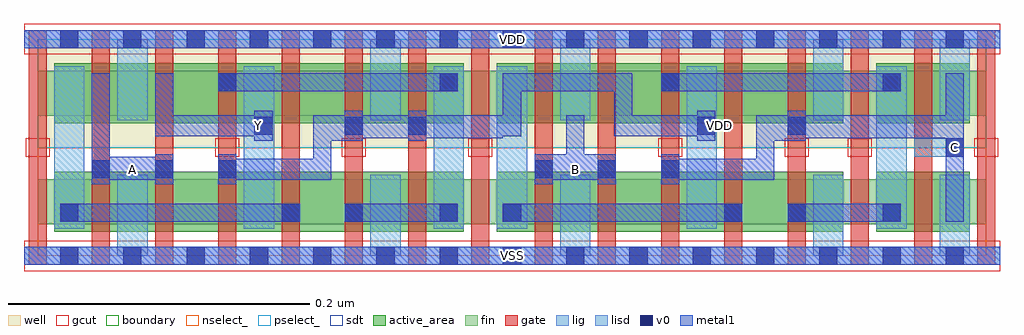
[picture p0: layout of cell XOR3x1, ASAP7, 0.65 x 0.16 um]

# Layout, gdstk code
import gdstk
lib = gdstk.Library(unit=1e-6, precision=2.5e-10)
def R(c, l, rs):  # rectangles x0, y0, x1, y1
    for r in rs: c.add(gdstk.rectangle(r[:2], r[2:], *l))
def A(c, l, x, y, w, h, nx, ny, dx, dy):  # array of equal rectangles
    R(c, l, [(x+i*dx, y+j*dy, x+i*dx+w, y+j*dy+h) for i in range(nx) for j in range(ny)])
def P(c, l, *ps):  # polygons
    for p in ps: c.add(gdstk.Polygon(p, *l))
well = (1, 0)
fin = (2, 0)
gate = (7, 0)
gcut = (10, 0)
active_area = (11, 0)
nselect_ = (12, 0)
pselect_ = (13, 0)
lig = (16, 0)
lisd = (17, 0)
v0 = (18, 0)
metal1 = (19, 0)
sdt = (88, 0)
boundary = (100, 0)

xor3x1 = lib.new_cell('XOR3x1')
R(xor3x1, well, [(0,0.072,0.63,0.144)])
R(xor3x1, fin, [(0,0.021,0.63,0.051), (0,0.093,0.63,0.123)])
A(xor3x1, gate, -0.006, -0.006, 0.012, 0.156, 16, 1, 0.042, 0)
A(xor3x1, gcut, 0.118, 0.066, 0.016, 0.012, 3, 1, 0.084, 0)
R(xor3x1, gcut, [(-0.009,-0.01,0.639,0.01), (-0.008,0.066,0.008,0.078), (0.412,0.066,0.428,0.078), (0.496,0.066,0.512,0.078), (0.538,0.066,0.554,0.078), (0.622,0.066,0.638,0.078), (-0.009,0.134,0.639,0.154)])
R(xor3x1, active_area, [(0.011,0.016,0.283,0.056), (0.305,0.016,0.535,0.056), (0.557,0.016,0.619,0.056), (0.011,0.088,0.283,0.128), (0.305,0.088,0.535,0.128), (0.557,0.088,0.619,0.128)])
R(xor3x1, nselect_, [(0,0,0.63,0.072)])
R(xor3x1, pselect_, [(0,0.072,0.63,0.144)])
A(xor3x1, lig, 0.036, 0.0515, 0.012, 0.012, 3, 1, 0.042, 0)
A(xor3x1, lig, 0.33, 0.0515, 0.012, 0.012, 3, 1, 0.042, 0)
R(xor3x1, lig, [(-0.009,-0.006,0.639,0.006), (0.162,0.0227,0.174,0.0348), (0.204,0.0227,0.216,0.0348), (0.456,0.0227,0.468,0.0348), (0.498,0.0227,0.51,0.0348), (0.582,0.066,0.615,0.078), (0.204,0.0805,0.216,0.0925), (0.246,0.0805,0.258,0.0925), (0.498,0.0805,0.51,0.0925), (0.12,0.1092,0.132,0.1212), (0.414,0.1092,0.426,0.1212), (-0.009,0.138,0.639,0.15)])
A(xor3x1, lisd, 0.011, 0.018, 0.02, 0.108, 3, 1, 0.126, 0)
A(xor3x1, lisd, 0.305, 0.018, 0.02, 0.108, 3, 1, 0.126, 0)
R(xor3x1, lisd, [(0.053,0,0.073,0.054), (0.221,0,0.241,0.054), (0.347,0,0.367,0.054), (0.515,0,0.535,0.054), (0.599,0,0.619,0.054), (0.053,0.09,0.073,0.144), (0.221,0.09,0.241,0.144), (0.347,0.09,0.367,0.144), (0.515,0.09,0.535,0.144), (0.599,0.09,0.619,0.144)])
A(xor3x1, v0, 0.015, -0.006, 0.012, 0.012, 15, 2, 0.042, 0.144)
A(xor3x1, v0, 0.036, 0.0515, 0.012, 0.012, 3, 1, 0.042, 0)
A(xor3x1, v0, 0.33, 0.0515, 0.012, 0.012, 3, 1, 0.042, 0)
A(xor3x1, v0, 0.12, 0.1092, 0.012, 0.012, 4, 1, 0.147, 0)
R(xor3x1, v0, [(0.015,0.0227,0.027,0.0348), (0.162,0.0227,0.174,0.0348), (0.204,0.0227,0.216,0.0348), (0.267,0.0227,0.279,0.0348), (0.309,0.0227,0.321,0.0348), (0.456,0.0227,0.468,0.0348), (0.498,0.0227,0.51,0.0348), (0.561,0.0227,0.573,0.0348), (0.603,0.066,0.615,0.078), (0.144,0.0805,0.156,0.0925), (0.204,0.0805,0.216,0.0925), (0.246,0.0805,0.258,0.0925), (0.438,0.0805,0.45,0.0925), (0.498,0.0805,0.51,0.0925)])
R(xor3x1, metal1, [(-0.009,-0.006,0.639,0.006), (0.015,0.0227,0.174,0.0348), (0.204,0.0227,0.279,0.0348), (0.309,0.0227,0.468,0.0348), (0.498,0.0227,0.573,0.0348), (0.12,0.1092,0.279,0.1212), (0.414,0.1092,0.573,0.1212), (-0.009,0.138,0.639,0.15)])
P(xor3x1, metal1, [(0.156,0.0965),(0.144,0.0965),(0.144,0.0935),(0.09,0.0935),(0.09,0.1212),(0.078,0.1212),(0.078,0.0795),(0.144,0.0795),(0.144,0.0765),(0.156,0.0765)],
  [(0.615,0.1212),(0.603,0.1212),(0.603,0.0935),(0.51,0.0935),(0.51,0.0965),(0.498,0.0965),(0.498,0.0935),(0.477,0.0935),(0.477,0.0645),(0.426,0.0645),(0.426,0.0675),(0.414,0.0675),(0.414,0.0475),(0.426,0.0475),(0.426,0.0505),(0.489,0.0505),(0.489,0.0765),(0.51,0.0765),(0.51,0.078),(0.603,0.078),(0.603,0.0227),(0.615,0.0227)],
  [(0.048,0.0505),(0.078,0.0505),(0.078,0.0475),(0.09,0.0475),(0.09,0.0675),(0.078,0.0675),(0.078,0.066),(0.048,0.066),(0.048,0.1212),(0.036,0.1212),(0.036,0.0475),(0.048,0.0475)],
  [(0.132,0.0505),(0.195,0.0505),(0.195,0.0765),(0.216,0.0765),(0.216,0.078),(0.246,0.078),(0.246,0.0765),(0.258,0.0765),(0.258,0.078),(0.309,0.078),(0.309,0.0795),(0.321,0.0795),(0.321,0.1092),(0.383,0.1092),(0.383,0.0795),(0.438,0.0795),(0.438,0.0765),(0.45,0.0765),(0.45,0.0965),(0.438,0.0965),(0.438,0.0935),(0.395,0.0935),(0.395,0.1212),(0.309,0.1212),(0.309,0.0935),(0.258,0.0935),(0.258,0.0965),(0.246,0.0965),(0.246,0.0935),(0.216,0.0935),(0.216,0.0965),(0.204,0.0965),(0.204,0.0935),(0.183,0.0935),(0.183,0.0645),(0.132,0.0645),(0.132,0.0675),(0.12,0.0675),(0.12,0.0475),(0.132,0.0475)],
  [(0.342,0.0505),(0.372,0.0505),(0.372,0.0475),(0.384,0.0475),(0.384,0.0675),(0.363,0.0675),(0.363,0.0935),(0.351,0.0935),(0.351,0.0675),(0.33,0.0675),(0.33,0.0475),(0.342,0.0475)])
A(xor3x1, sdt, 0.053, 0.021, 0.02, 0.03, 3, 2, 0.084, 0.072)
A(xor3x1, sdt, 0.263, 0.021, 0.02, 0.03, 3, 2, 0.042, 0.072)
A(xor3x1, sdt, 0.515, 0.021, 0.02, 0.03, 3, 2, 0.042, 0.072)
R(xor3x1, sdt, [(0.011,0.021,0.031,0.051), (0.431,0.021,0.451,0.051), (0.011,0.093,0.031,0.123), (0.431,0.093,0.451,0.123)])
R(xor3x1, boundary, [(0,0,0.63,0.144)])
xor3x1.add(gdstk.Label('VDD', (0.453,0.0865), layer=1, texttype=251))
xor3x1.add(gdstk.Label('VSS', (0.662,0.0505), layer=3, texttype=251))
xor3x1.add(gdstk.Label('VDD', (0.315,0.144), layer=19, texttype=251))
xor3x1.add(gdstk.Label('VSS', (0.315,0), layer=19, texttype=251))
xor3x1.add(gdstk.Label('A', (0.063,0.0575), layer=19, texttype=251))
xor3x1.add(gdstk.Label('B', (0.357,0.0575), layer=19, texttype=251))
xor3x1.add(gdstk.Label('Y', (0.147,0.0865), layer=19, texttype=251))
xor3x1.add(gdstk.Label('C', (0.609,0.072), layer=19, texttype=251))

lib.write_gds('XOR3x1.gds')
